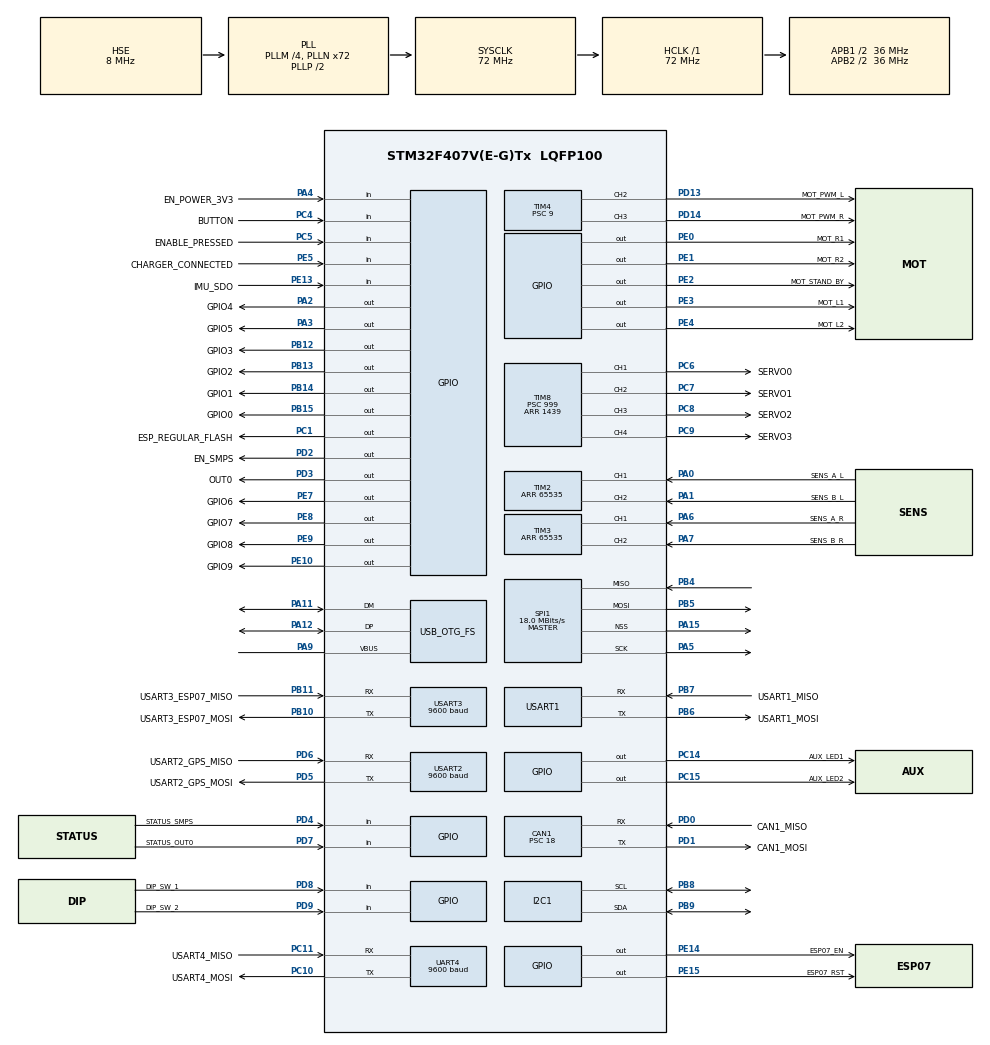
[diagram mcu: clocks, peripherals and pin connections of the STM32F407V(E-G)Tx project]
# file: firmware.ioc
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FREERTOS.Queues01=msg_q_encoder_l,10,int16_t,0,Dynamic,NULL,NULL;msg_q_encoder_r,10,int16_t,0,Dynamic,NULL,NULL
PH0-OSC_IN.Signal=RCC_OSC_IN
SPI1.VirtualType=VM_MASTER
PB10.Mode=Asynchronous
PB14.GPIO_Label=GPIO1
PC6.GPIO_Label=SERVO0
PA6.GPIO_Label=SENS_A_R
PB6.GPIO_Label=USART1_MOSI
TIM8.Channel-PWM\ Generation4\ CH4=TIM_CHANNEL_4
PB13.Signal=GPIO_Output
PD6.GPIO_Label=USART2_GPS_MISO
PC15-OSC32_OUT.GPIO_Label=AUX_LED2
RCC.SYSCLKSource=RCC_SYSCLKSOURCE_PLLCLK
USART3.BaudRate=9600
SPI1.Direction=SPI_DIRECTION_2LINES
PD4.Signal=GPIO_Input
RCC.APB2TimFreq_Value=72000000
PB6.Signal=USART1_TX
PC7.Signal=S_TIM8_CH2
PB6.Mode=Asynchronous
SPI1.CalculateBaudRate=18.0 MBits/s
PD0.Signal=CAN1_RX
PD8.Signal=GPIO_Input
PE5.Signal=GPIO_Input
PE1.Signal=GPIO_Output
PC1.PinState=GPIO_PIN_SET
TIM4.Channel-PWM\ Generation3\ CH3=TIM_CHANNEL_3
PB3.Mode=Trace_Asynchronous_SW
PD1.GPIO_Label=CAN1_MOSI
PB12.GPIO_Label=GPIO3
PC4.GPIO_Label=BUTTON
PE9.Signal=GPIO_Output
USB_DEVICE.MANUFACTURER_STRING-CDC_FS=Noone Business
PE4.GPIO_Label=MOT_L2
SH.S_TIM4_CH2.0=TIM4_CH2,PWM Generation2 CH2
PE2.Signal=GPIO_Output
SPI1.VirtualNSS=VM_NSSHARD
TIM4.Period=719
VP_FREERTOS_VS_CMSIS_V1.Mode=CMSIS_V1
PE10.Signal=GPIO_Output
CAN1.Prescaler=18
Mcu.Package=LQFP100
PB9.Signal=I2C1_SDA
TIM8.Channel-PWM\ Generation3\ CH3=TIM_CHANNEL_3
SH.S_TIM8_CH4.0=TIM8_CH4,PWM Generation4 CH4
NVIC.TimeBase=TIM1_UP_TIM10_IRQn
NVIC.TimeBaseIP=TIM1
TIM7.AutoReloadPreload=TIM_AUTORELOAD_PRELOAD_ENABLE
PC11.Mode=Asynchronous
RCC.APB2CLKDivider=RCC_HCLK_DIV2
NVIC.DMA2_Stream2_IRQn=true\:0\:0\:false\:false\:true\:true\:false\:true
RCC.APB1TimFreq_Value=72000000
PE10.GPIO_Label=GPIO9
PD9.GPIO_PuPd=GPIO_PULLUP
PA4.GPIO_Label=EN_POWER_3V3
CAN1.CalculateTimeQuantum=500.0
PA5.Mode=Full_Duplex_Master
SH.S_TIM8_CH3.0=TIM8_CH3,PWM Generation3 CH3
PB7.GPIO_PuPd=GPIO_PULLUP
TIM8.OCFastMode_PWM-PWM\ Generation4\ CH4=TIM_OCFAST_ENABLE
FREERTOS.Tasks01=defaultTask,0,128,StartDefaultTask,Default,NULL,Dynamic,NULL,NULL;PID_L,0,400,tsk_pid_l,Default,NULL,Dynamic,NULL,NULL;PID_R,0,400,tsk_pid_r,Default,NULL,Dynamic,NULL,NULL;ROS,0,1000,tsk_ros,Default,NULL,Dynamic,NULL,NULL;IMU,0,800,tsk_imu,Default,NULL,Dynamic,NULL,NULL;Button,-3,250,tsk_button,Default,NULL,Dynamic,NULL,NULL
PD9.GPIO_Label=DIP_SW_2
TIM2.IC1Filter=15
PD3.Signal=GPIO_Output
PC6.Signal=S_TIM8_CH1
PB11.GPIO_Label=USART3_ESP07_MISO
PD7.Signal=GPIO_Input
PD1.Signal=CAN1_TX
RCC.APB1CLKDivider=RCC_HCLK_DIV2
UART4.VirtualMode=Asynchronous
PC14-OSC32_IN.Signal=GPIO_Output
PD6.Mode=Asynchronous
USART2.BaudRate=9600
SH.S_TIM8_CH2.0=TIM8_CH2,PWM Generation2 CH2
PA0-WKUP.GPIO_Label=SENS_A_L
PA0-WKUP.Signal=S_TIM2_CH1_ETR
PB11.Mode=Asynchronous
TIM3.IC2Filter=15
I2C1.I2C_Mode=I2C_Standard
Dma.USART1_RX.0.Direction=DMA_PERIPH_TO_MEMORY
PE8.GPIO_Label=GPIO7
PA9.Signal=USB_OTG_FS_VBUS
PE9.GPIO_Label=GPIO8
Dma.USART1_RX.0.PeriphInc=DMA_PINC_DISABLE
PB10.Signal=USART3_TX
PB14.Signal=GPIO_Output
PA5.Signal=SPI1_SCK
TIM3.IC1Filter=15
SH.S_TIM8_CH1.0=TIM8_CH1,PWM Generation1 CH1
PE1.GPIO_Label=MOT_R2
PD1.Mode=Master
PE14.Signal=GPIO_Output
PE15.Signal=GPIO_Output
PB15.GPIO_Label=GPIO0
PE8.Signal=GPIO_Output
SPI1.Mode=SPI_MODE_MASTER
PA1.GPIO_Label=SENS_B_L
TIM2.Period=65535
PA13.Mode=Trace_Asynchronous_SW
TIM8.Period=1439
PC7.GPIO_Label=SERVO1
PA4.Signal=GPIO_Input
PB5.Signal=SPI1_MOSI
PE13.GPIO_Label=IMU_SDO
PE5.GPIO_Label=CHARGER_CONNECTED
USART1.VirtualMode=VM_ASYNC
PA11.Signal=USB_OTG_FS_DM
SH.S_TIM2_CH1_ETR.0=TIM2_CH1,Encoder_Interface
ProjectManager.HeapSize=0x200
NVIC.TIM1_UP_TIM10_IRQn=true\:0\:0\:false\:false\:true\:false\:false\:true
VP_TIM4_VS_ClockSourceINT.Mode=Internal
FREERTOS.Mutexes01=sysInfo,Dynamic,NULL
NVIC.PriorityGroup=NVIC_PRIORITYGROUP_4
PB8.Mode=I2C
PE3.Signal=GPIO_Output
PD2.Signal=GPIO_Output
PC1.Signal=GPIO_Output
PD2.GPIO_Label=EN_SMPS
TIM2.IC2Filter=15
Mcu.Family=STM32F4
USB_DEVICE.CLASS_NAME_FS=CDC
RCC.CortexFreq_Value=72000000
PC10.Signal=UART4_TX
TIM8.OCFastMode_PWM-PWM\ Generation2\ CH2=TIM_OCFAST_ENABLE
PD0.GPIO_Label=CAN1_MISO
PA11.Mode=Device_Only
USB_DEVICE.VirtualMode-CDC_FS=Cdc
PB11.GPIO_PuPd=GPIO_PULLUP
PB13.GPIO_Label=GPIO2
PD8.GPIO_PuPd=GPIO_PULLUP
PB11.Signal=USART3_RX
PB15.Signal=GPIO_Output
ProjectManager.StackSize=0x400
VP_TIM7_VS_ClockSourceINT.Mode=Enable_Timer
PD13.Signal=S_TIM4_CH2
PA12.Signal=USB_OTG_FS_DP
PE5.GPIO_PuPd=GPIO_PULLUP
UART4.BaudRate=9600
RCC.HCLKFreq_Value=72000000
TIM8.Channel-PWM\ Generation1\ CH1=TIM_CHANNEL_1
TIM3.Period=65535
TIM7.Period=3999
RCC.AHBFreq_Value=72000000
PH0-OSC_IN.Mode=HSE-External-Oscillator
Dma.USART1_RX.0.Priority=DMA_PRIORITY_MEDIUM
PD5.Mode=Asynchronous
RCC.HSE_VALUE=8000000
PA15.Mode=NSS_Signal_Hard_Output
PB4.Mode=Full_Duplex_Master
PE13.Signal=GPIO_Input
PA14.Mode=Trace_Asynchronous_SW
VP_SYS_VS_tim1.Mode=TIM1
PC11.GPIO_Label=USART4_MISO
PB5.Mode=Full_Duplex_Master
PB7.Signal=USART1_RX
SH.S_TIM3_CH1.0=TIM3_CH1,Encoder_Interface
TIM4.OCFastMode_PWM-PWM\ Generation2\ CH2=TIM_OCFAST_ENABLE
Dma.USART1_RX.0.MemInc=DMA_MINC_ENABLE
PE4.Signal=GPIO_Output
PD7.GPIO_Label=STATUS_OUT0
PH1-OSC_OUT.Mode=HSE-External-Oscillator
PB7.GPIO_Label=USART1_MISO
PD13.GPIO_Label=MOT_PWM_L
TIM8.OCFastMode_PWM-PWM\ Generation3\ CH3=TIM_OCFAST_ENABLE
PA6.Signal=S_TIM3_CH1
USART2.VirtualMode=VM_ASYNC
RCC.EnbaleCSS=true
PD5.GPIO_Label=USART2_GPS_MOSI
NVIC.OTG_FS_IRQn=true\:0\:0\:false\:false\:true\:true\:false\:true
PA2.GPIO_Label=GPIO4
TIM8.Channel-PWM\ Generation2\ CH2=TIM_CHANNEL_2
USB_OTG_FS.VirtualMode=Device_Only
PA15.Signal=SPI1_NSS
PE0.GPIO_Label=MOT_R1
TIM8.Prescaler=999
Dma.USART1_RX.0.FIFOMode=DMA_FIFOMODE_DISABLE
Dma.USART1_RX.0.Mode=DMA_NORMAL
PC14-OSC32_IN.GPIO_Label=AUX_LED1
PC5.Signal=GPIO_Input
PD3.GPIO_Label=OUT0
PE7.Signal=GPIO_Output
PD6.Signal=USART2_RX
Dma.Request0=USART1_RX
SPI1.BaudRatePrescaler=SPI_BAUDRATEPRESCALER_2
PE2.GPIO_Label=MOT_STAND_BY
Dma.USART1_RX.0.Instance=DMA2_Stream2
NVIC.TIM7_IRQn=true\:0\:0\:false\:false\:true\:true\:true\:true
PB4.Signal=SPI1_MISO
PA3.Signal=GPIO_Output
TIM4.AutoReloadPreload=TIM_AUTORELOAD_PRELOAD_ENABLE
Dma.USART1_RX.0.PeriphDataAlignment=DMA_PDATAALIGN_BYTE
PC10.GPIO_Label=USART4_MOSI
PC9.GPIO_Label=SERVO3
USB_DEVICE.VirtualModeFS=Cdc_FS
PC4.GPIO_PuPd=GPIO_PULLUP
PC11.Signal=UART4_RX
PC8.Signal=S_TIM8_CH3
PC4.Signal=GPIO_Input
PC10.Mode=Asynchronous
PE14.GPIO_Label=ESP07_EN
PD9.Signal=GPIO_Input
PD5.Signal=USART2_TX
PC5.GPIO_PuPd=GPIO_PULLDOWN
TIM4.OCFastMode_PWM-PWM\ Generation3\ CH3=TIM_OCFAST_ENABLE
PD8.GPIO_Label=DIP_SW_1
PC8.GPIO_Label=SERVO2
PA13.Signal=SYS_JTMS-SWDIO
SH.S_TIM2_CH2.0=TIM2_CH2,Encoder_Interface
PA9.Mode=Activate_VBUS
PE15.GPIO_Label=ESP07_RST
ProjectManager.TargetToolchain=STM32CubeIDE
PB10.GPIO_Label=USART3_ESP07_MOSI
SH.S_TIM4_CH3.0=TIM4_CH3,PWM Generation3 CH3
VP_USB_DEVICE_VS_USB_DEVICE_CDC_FS.Mode=CDC_FS
PB9.Mode=I2C
TIM4.Prescaler=9
RCC.LSE_VALUE=32768
PC15-OSC32_OUT.Signal=GPIO_Output
PA1.Signal=S_TIM2_CH2
SH.S_TIM3_CH2.0=TIM3_CH2,Encoder_Interface
TIM7.Prescaler=719
board=custom
RCC.VCOOutputFreq_Value=144000000
TIM4.Channel-PWM\ Generation2\ CH2=TIM_CHANNEL_2
RCC.APB2Freq_Value=36000000
PD4.GPIO_Label=STATUS_SMPS
PC1.GPIO_Label=ESP_REGULAR_FLASH
PH1-OSC_OUT.Signal=RCC_OSC_OUT
Dma.USART1_RX.0.MemDataAlignment=DMA_MDATAALIGN_BYTE
PD14.GPIO_Label=MOT_PWM_R
Mcu.Name=STM32F407V(E-G)Tx
PE0.Signal=GPIO_Output
PE7.GPIO_Label=GPIO6
PD0.Mode=Master
PA2.Signal=GPIO_Output
PD14.Signal=S_TIM4_CH3
RCC.48MHZClocksFreq_Value=48000000
PB3.Signal=SYS_JTDO-SWO
RCC.SYSCLKFreq_VALUE=72000000
PA7.GPIO_Label=SENS_B_R
PA12.Mode=Device_Only
PC5.GPIO_Label=ENABLE_PRESSED
USART3.VirtualMode=VM_ASYNC
PB7.Mode=Asynchronous
PA14.Signal=SYS_JTCK-SWCLK
RCC.HSI_VALUE=16000000
RCC.PLLQ=3
TIM8.OCFastMode_PWM-PWM\ Generation1\ CH1=TIM_OCFAST_ENABLE
RCC.PLLM=4
RCC.PLLN=72
PB8.Signal=I2C1_SCL
PE3.GPIO_Label=MOT_L1
PC9.Signal=S_TIM8_CH4
RCC.APB1Freq_Value=36000000
PE15.PinState=GPIO_PIN_RESET
PB12.Signal=GPIO_Output
PA3.GPIO_Label=GPIO5
PD6.GPIO_PuPd=GPIO_PULLUP
PA7.Signal=S_TIM3_CH2

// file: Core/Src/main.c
/* USER CODE BEGIN Header */
/**
  ******************************************************************************
  * @file           : main.c
  * @brief          : Main program body
  ******************************************************************************
  * @attention
  *
  * <h2><center>&copy; Copyright (c) 2020 STMicroelectronics.
  * All rights reserved.</center></h2>
  *
  * This software component is licensed by ST under Ultimate Liberty license
  * SLA0044, the "License"; You may not use this file except in compliance with
  * the License. You may obtain a copy of the License at:
  *                             www.st.com/SLA0044
  *
  ******************************************************************************
  */
/* USER CODE END Header */
#include "main.h"
#include "cmsis_os.h"
#include "can.h"
#include "dma.h"
#include "i2c.h"
#include "spi.h"
#include "tim.h"
#include "usart.h"
#include "usb_device.h"
#include "gpio.h"

/* USER CODE BEGIN Includes */
#include "Config.h"
/* USER CODE END Includes */

/* USER CODE BEGIN PV */
extern osMessageQId msg_q_encoder_lHandle;
extern osMessageQId msg_q_encoder_rHandle;
int16_t ticks_l;
int16_t ticks_r;
/* USER CODE END PV */

void SystemClock_Config(void);
void MX_FREERTOS_Init(void);

int main(void)
{

  /* MCU Configuration--------------------------------------------------------*/

  /* Reset of all peripherals, Initializes the Flash interface and the Systick. */
  HAL_Init();

  /* Configure the system clock */
  SystemClock_Config();

  /* Initialize all configured peripherals */
  MX_GPIO_Init();
  MX_DMA_Init();
  MX_TIM2_Init();
  MX_TIM3_Init();
  MX_TIM4_Init();
  MX_TIM7_Init();
  MX_TIM8_Init();
  MX_CAN1_Init();
  MX_I2C1_Init();
  MX_SPI1_Init();
  MX_UART4_Init();
  MX_USART1_UART_Init();
  MX_USART2_UART_Init();
  MX_USART3_UART_Init();

  /* Call init function for freertos objects (in freertos.c) */
  MX_FREERTOS_Init();
  /* Start scheduler */
  osKernelStart();

  /* We should never get here as control is now taken by the scheduler */
  /* Infinite loop */
  while (1)
  {

  }
}

void SystemClock_Config(void)
{
  RCC_OscInitTypeDef RCC_OscInitStruct = {0};
  RCC_ClkInitTypeDef RCC_ClkInitStruct = {0};

  /** Configure the main internal regulator output voltage
  */
  __HAL_RCC_PWR_CLK_ENABLE();
  __HAL_PWR_VOLTAGESCALING_CONFIG(PWR_REGULATOR_VOLTAGE_SCALE1);
  /** Initializes the RCC Oscillators according to the specified parameters
  * in the RCC_OscInitTypeDef structure.
  */
  RCC_OscInitStruct.OscillatorType = RCC_OSCILLATORTYPE_HSE;
  RCC_OscInitStruct.HSEState = RCC_HSE_ON;
  RCC_OscInitStruct.PLL.PLLState = RCC_PLL_ON;
  RCC_OscInitStruct.PLL.PLLSource = RCC_PLLSOURCE_HSE;
  RCC_OscInitStruct.PLL.PLLM = 4;
  RCC_OscInitStruct.PLL.PLLN = 72;
  RCC_OscInitStruct.PLL.PLLP = RCC_PLLP_DIV2;
  RCC_OscInitStruct.PLL.PLLQ = 3;
  if (HAL_RCC_OscConfig(&RCC_OscInitStruct) != HAL_OK)
  {
    Error_Handler();
  }
  /** Initializes the CPU, AHB and APB buses clocks
  */
  RCC_ClkInitStruct.ClockType = RCC_CLOCKTYPE_HCLK|RCC_CLOCKTYPE_SYSCLK
                              |RCC_CLOCKTYPE_PCLK1|RCC_CLOCKTYPE_PCLK2;
  RCC_ClkInitStruct.SYSCLKSource = RCC_SYSCLKSOURCE_PLLCLK;
  RCC_ClkInitStruct.AHBCLKDivider = RCC_SYSCLK_DIV1;
  RCC_ClkInitStruct.APB1CLKDivider = RCC_HCLK_DIV2;
  RCC_ClkInitStruct.APB2CLKDivider = RCC_HCLK_DIV2;

  if (HAL_RCC_ClockConfig(&RCC_ClkInitStruct, FLASH_LATENCY_2) != HAL_OK)
  {
    Error_Handler();
  }
  /** Enables the Clock Security System
  */
  HAL_RCC_EnableCSS();
}

void HAL_TIM_PeriodElapsedCallback(TIM_HandleTypeDef *htim)
{
  if (htim->Instance == TIM1) {
    HAL_IncTick();
  }
  /* USER CODE BEGIN Callback 1 */
  else if(htim->Instance == TIM7){
    ticks_l = ENCODER_TIMER_L.Instance->CNT;
    ticks_r = ENCODER_TIMER_R.Instance->CNT;
    osMessagePut(msg_q_encoder_lHandle, ticks_l, 0);  // Send Message
    osMessagePut(msg_q_encoder_rHandle, ticks_r, 0);  // Send Message
  }
  /* USER CODE END Callback 1 */
}

void Error_Handler(void)
{
}

/************************ (C) COPYRIGHT STMicroelectronics *****END OF FILE****/

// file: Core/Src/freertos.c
/* USER CODE BEGIN Header */
/**
  ******************************************************************************
  * File Name          : freertos.c
  * Description        : Code for freertos applications
  ******************************************************************************
  * @attention
  *
  * <h2><center>&copy; Copyright (c) 2020 STMicroelectronics.
  * All rights reserved.</center></h2>
  *
  * This software component is licensed by ST under Ultimate Liberty license
  * SLA0044, the "License"; You may not use this file except in compliance with
  * the License. You may obtain a copy of the License at:
  *                             www.st.com/SLA0044
  *
  ******************************************************************************
  */
/* USER CODE END Header */

#include "FreeRTOS.h"
#include "task.h"
#include "main.h"
#include "cmsis_os.h"

/* USER CODE BEGIN Includes */
#include "stdbool.h"
#include "NodeEntrypoint.h"
#include "Utils/NoahInfo.h"
/* USER CODE END Includes */

/* USER CODE BEGIN Variables */
NoahInfoHandler noah_info_handler;
bool initialized;
/* USER CODE END Variables */
osThreadId defaultTaskHandle;
osThreadId PID_LHandle;
osThreadId PID_RHandle;
osThreadId ROSHandle;
osThreadId IMUHandle;
osThreadId ButtonHandle;
osMessageQId msg_q_encoder_lHandle;
osMessageQId msg_q_encoder_rHandle;
osMutexId sysInfoHandle;

void StartDefaultTask(void const * argument);
void tsk_pid_l(void const * argument);
void tsk_pid_r(void const * argument);
void tsk_ros(void const * argument);
void tsk_imu(void const * argument);
void tsk_button(void const * argument);

extern void MX_USB_DEVICE_Init(void);
void MX_FREERTOS_Init(void); /* (MISRA C 2004 rule 8.1) */

/* GetIdleTaskMemory prototype (linked to static allocation support) */
void vApplicationGetIdleTaskMemory( StaticTask_t **ppxIdleTaskTCBBuffer, StackType_t **ppxIdleTaskStackBuffer, uint32_t *pulIdleTaskStackSize );

/* USER CODE BEGIN GET_IDLE_TASK_MEMORY */
static StaticTask_t xIdleTaskTCBBuffer;
static StackType_t xIdleStack[configMINIMAL_STACK_SIZE];

void vApplicationGetIdleTaskMemory( StaticTask_t **ppxIdleTaskTCBBuffer, StackType_t **ppxIdleTaskStackBuffer, uint32_t *pulIdleTaskStackSize )
{
  *ppxIdleTaskTCBBuffer = &xIdleTaskTCBBuffer;
  *ppxIdleTaskStackBuffer = &xIdleStack[0];
  *pulIdleTaskStackSize = configMINIMAL_STACK_SIZE;
  /* place for user code */
}
/* USER CODE END GET_IDLE_TASK_MEMORY */

void MX_FREERTOS_Init(void) {
  /* USER CODE BEGIN Init */
  initialized = false;
  /* USER CODE END Init */
  /* Create the mutex(es) */
  /* definition and creation of sysInfo */
  osMutexDef(sysInfo);
  sysInfoHandle = osMutexCreate(osMutex(sysInfo));

  /* Create the queue(s) */
  /* definition and creation of msg_q_encoder_l */
  osMessageQDef(msg_q_encoder_l, 10, int16_t);
  msg_q_encoder_lHandle = osMessageCreate(osMessageQ(msg_q_encoder_l), NULL);

  /* definition and creation of msg_q_encoder_r */
  osMessageQDef(msg_q_encoder_r, 10, int16_t);
  msg_q_encoder_rHandle = osMessageCreate(osMessageQ(msg_q_encoder_r), NULL);

  /* Create the thread(s) */
  /* definition and creation of defaultTask */
  osThreadDef(defaultTask, StartDefaultTask, osPriorityNormal, 0, 128);
  defaultTaskHandle = osThreadCreate(osThread(defaultTask), NULL);

  /* definition and creation of PID_L */
  osThreadDef(PID_L, tsk_pid_l, osPriorityNormal, 0, 400);
  PID_LHandle = osThreadCreate(osThread(PID_L), NULL);

  /* definition and creation of PID_R */
  osThreadDef(PID_R, tsk_pid_r, osPriorityNormal, 0, 400);
  PID_RHandle = osThreadCreate(osThread(PID_R), NULL);

  /* definition and creation of ROS */
  osThreadDef(ROS, tsk_ros, osPriorityNormal, 0, 1000);
  ROSHandle = osThreadCreate(osThread(ROS), NULL);

  /* definition and creation of IMU */
  osThreadDef(IMU, tsk_imu, osPriorityNormal, 0, 800);
  IMUHandle = osThreadCreate(osThread(IMU), NULL);

  /* definition and creation of Button */
  osThreadDef(Button, tsk_button, osPriorityIdle, 0, 250);
  ButtonHandle = osThreadCreate(osThread(Button), NULL);

}

void StartDefaultTask(void const * argument)
{
  /* init code for USB_DEVICE */
  MX_USB_DEVICE_Init();
  /* USER CODE BEGIN StartDefaultTask */
  noahInfo_init(&sysInfoHandle, &noah_info_handler);
  initialized = true;
  PowerManagementNode();
  /* Infinite loop */
  for(;;)
  {
    osDelay(1);
  }
  /* USER CODE END StartDefaultTask */
}

void tsk_pid_l(void const * argument)
{
  /* USER CODE BEGIN tsk_pid_l */
//  while(!initialized){
//    osDelay(2);
//  }
//  PIDLNode(&noah_info_handler);
//  /* Infinite loop */
  for(;;)
  {
    osDelay(1);
  }
  /* USER CODE END tsk_pid_l */
}

void tsk_pid_r(void const * argument)
{
  /* USER CODE BEGIN tsk_pid_r */
//  while(!initialized){
//    osDelay(2);
//  }
//  PIDRNode(&noah_info_handler);
//  /* Infinite loop */
  for(;;)
  {
    osDelay(1);
  }
  /* USER CODE END tsk_pid_r */
}

void tsk_ros(void const * argument)
{
  /* USER CODE BEGIN tsk_ros */
//  while(!initialized){
//    osDelay(2);
//  }
//  ROSCommsNode(&noah_info_handler);
//  /* Infinite loop */
  for(;;)
  {
    osDelay(1);
  }
  /* USER CODE END tsk_ros */
}

void tsk_imu(void const * argument)
{
  /* USER CODE BEGIN tsk_imu */
  while(!initialized){
    osDelay(2);
  }
  osDelay(100);
  IMUNode(&noah_info_handler);
  /* Infinite loop */
  for(;;)
  {
    osDelay(1);
  }
  /* USER CODE END tsk_imu */
}

void tsk_button(void const * argument)
{
  for(;;)
  {
    osDelay(1);
  }
}

/************************ (C) COPYRIGHT STMicroelectronics *****END OF FILE****/
